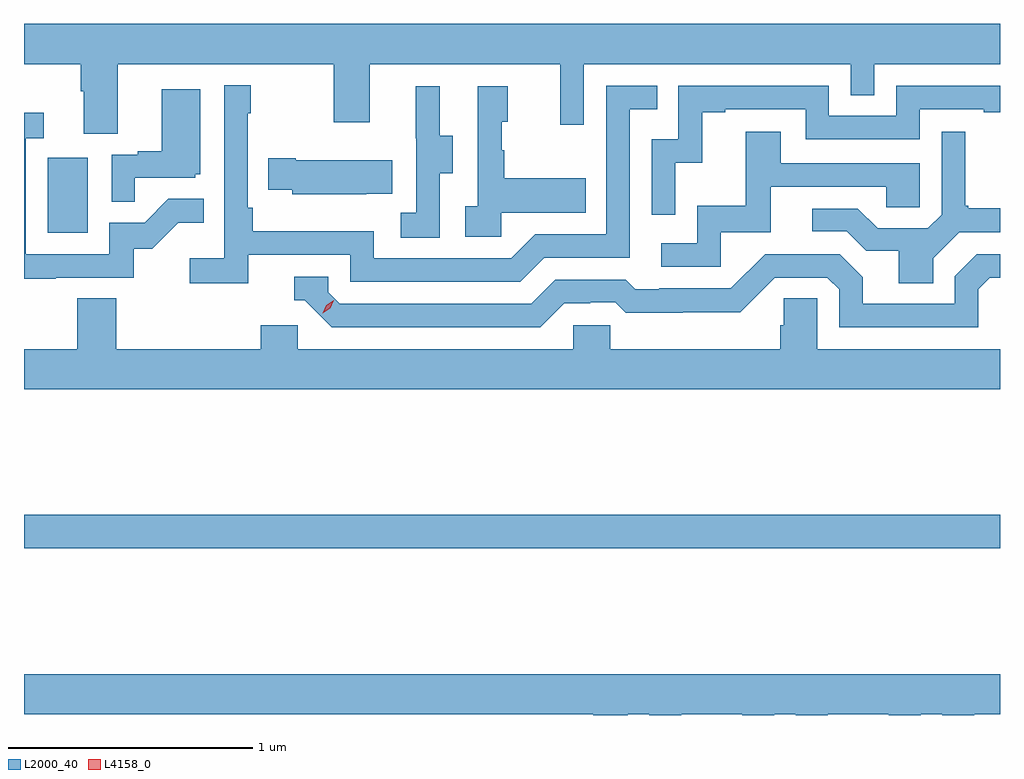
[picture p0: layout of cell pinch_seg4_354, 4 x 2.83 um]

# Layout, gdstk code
import gdstk
lib = gdstk.Library(unit=1e-6, precision=1e-09)
def R(c, l, rs):  # rectangles x0, y0, x1, y1
    for r in rs: c.add(gdstk.rectangle(r[:2], r[2:], *l))
def P(c, l, *ps):  # polygons
    for p in ps: c.add(gdstk.Polygon(p, *l))
L2000_40 = (2000, 40)
L4158_0 = (4158, 0)

pinch_seg4_354 = lib.new_cell('pinch_seg4_354')
R(pinch_seg4_354, L2000_40, [(973.747,796.168,977.747,796.304), (973.844,797.46,974.008,797.767)])
P(pinch_seg4_354, L2000_40, [(974.131,798.152),(975.016,798.152),(975.016,797.913),(975.163,797.913),(975.163,798.152),(975.944,798.152),(975.944,797.904),(976.041,797.904),(976.041,798.152),(977.136,798.152),(977.136,798.025),(977.232,798.025),(977.232,798.152),(977.747,798.152),(977.747,798.316),(973.747,798.316),(973.747,798.152),(973.979,798.152),(973.979,798.04),(973.991,798.04),(973.991,797.866),(974.131,797.866)],
  [(974.666,797.37),(975.084,797.37),(975.084,797.259),(975.781,797.259),(975.88,797.358),(976.23,797.358),(976.23,797.967),(976.343,797.967),(976.343,798.063),(976.134,798.063),(976.134,797.454),(975.843,797.454),(975.744,797.355),(975.18,797.355),(975.18,797.467),(974.684,797.467),(974.684,797.563),(974.664,797.563),(974.664,797.951),(974.677,797.951),(974.677,798.064),(974.568,798.064),(974.568,797.356),(974.427,797.356),(974.427,797.254),(974.666,797.254)],
  [(976.416,797.747),(976.526,797.747),(976.526,797.955),(976.621,797.955),(976.621,797.967),(976.95,797.967),(976.95,797.844),(977.418,797.844),(977.418,797.967),(977.681,797.967),(977.681,797.955),(977.747,797.955),(977.747,798.063),(977.322,798.063),(977.322,797.94),(977.046,797.94),(977.046,798.063),(976.428,798.063),(976.428,797.844),(976.32,797.844),(976.32,797.535),(976.416,797.535)],
  [(975.702,797.543),(976.049,797.543),(976.049,797.683),(975.715,797.683),(975.715,797.798),(975.705,797.798),(975.705,797.916),(975.73,797.916),(975.73,798.061),(975.606,798.061),(975.606,797.57),(975.555,797.57),(975.555,797.445),(975.702,797.445)],
  [(975.45,797.704),(975.505,797.704),(975.505,797.859),(975.451,797.859),(975.451,798.061),(975.353,798.061),(975.353,797.847),(975.354,797.847),(975.354,797.543),(975.291,797.543),(975.291,797.44),(975.45,797.44)],
  [(974.201,797.685),(974.448,797.685),(974.448,797.7),(974.47,797.7),(974.47,798.049),(974.312,798.049),(974.312,797.794),(974.213,797.794),(974.213,797.781),(974.106,797.781),(974.106,797.587),(974.201,797.587)],
  [(973.877,797.277),(974.196,797.277),(974.196,797.394),(974.272,797.394),(974.379,797.501),(974.483,797.501),(974.483,797.6),(974.339,797.6),(974.241,797.502),(974.097,797.502),(974.097,797.373),(973.755,797.373),(973.755,797.847),(973.828,797.847),(973.828,797.953),(973.747,797.953),(973.747,797.272),(973.877,797.272)],
  [(976.602,797.463),(976.807,797.463),(976.807,797.649),(977.281,797.649),(977.281,797.565),(977.418,797.565),(977.418,797.745),(976.849,797.745),(976.849,797.875),(976.705,797.875),(976.705,797.572),(976.506,797.572),(976.506,797.418),(976.359,797.418),(976.359,797.322),(976.602,797.322)],
  [(977.473,797.356),(977.58,797.463),(977.747,797.463),(977.747,797.56),(977.617,797.56),(977.617,797.572),(977.605,797.572),(977.605,797.875),(977.508,797.875),(977.508,797.535),(977.451,797.478),(977.245,797.478),(977.164,797.559),(976.977,797.559),(976.977,797.466),(977.118,797.466),(977.198,797.386),(977.333,797.386),(977.333,797.254),(977.473,797.254)],
  [(975.149,797.621),(975.257,797.621),(975.257,797.758),(974.86,797.758),(974.86,797.766),(974.749,797.766),(974.749,797.636),(974.847,797.636),(974.847,797.618),(975.149,797.618)],
  [(975.961,797.172),(976.068,797.172),(976.068,797.175),(976.171,797.175),(976.213,797.133),(976.446,797.133),(976.446,797.135),(976.682,797.135),(976.824,797.277),(977.04,797.277),(977.088,797.229),(977.088,797.073),(977.658,797.073),(977.658,797.229),(977.706,797.277),(977.747,797.277),(977.747,797.373),(977.652,797.373),(977.562,797.283),(977.562,797.169),(977.185,797.169),(977.185,797.279),(977.091,797.373),(976.785,797.373),(976.644,797.232),(976.351,797.232),(976.351,797.229),(976.252,797.229),(976.213,797.268),(975.924,797.268),(975.825,797.169),(975.042,797.169),(974.994,797.217),(974.994,797.28),(974.855,797.28),(974.855,797.184),(974.898,797.184),(975.009,797.073),(975.862,797.073)],
  [(977.747,796.984),(976.998,796.984),(976.998,797.192),(976.861,797.192),(976.861,797.082),(976.847,797.082),(976.847,796.984),(976.149,796.984),(976.149,797.082),(975.999,797.082),(975.999,796.984),(974.868,796.984),(974.868,797.082),(974.717,797.082),(974.717,796.984),(974.126,796.984),(974.126,797.192),(973.966,797.192),(973.966,796.984),(973.747,796.984),(973.747,796.82),(977.747,796.82)],
  [(976.222,795.488),(976.31,795.488),(976.31,795.484),(976.441,795.484),(976.441,795.488),(976.691,795.488),(976.691,795.484),(976.822,795.484),(976.822,795.488),(976.91,795.488),(976.91,795.484),(977.041,795.484),(977.041,795.488),(977.291,795.488),(977.291,795.484),(977.422,795.484),(977.422,795.488),(977.51,795.488),(977.51,795.484),(977.641,795.484),(977.641,795.488),(977.747,795.488),(977.747,795.652),(973.747,795.652),(973.747,795.488),(976.079,795.488),(976.079,795.484),(976.222,795.484)])
P(pinch_seg4_354, L4158_0, [(974.971,797.131),(974.971,797.131),(974.986,797.164),(975.016,797.184),(975.017,797.184),(975.017,797.184),(975.002,797.151),(974.971,797.131)])

lib.write_gds('pinch_seg4_354.gds')
